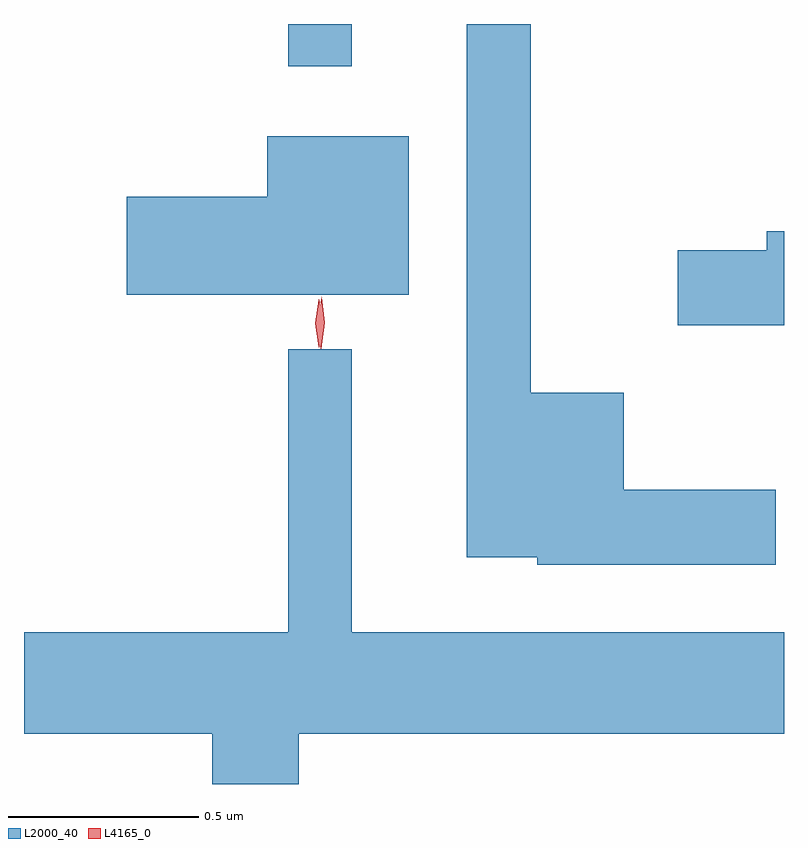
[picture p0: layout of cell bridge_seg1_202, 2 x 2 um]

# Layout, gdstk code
import gdstk
lib = gdstk.Library(unit=1e-6, precision=1e-09)
def R(c, l, rs):  # rectangles x0, y0, x1, y1
    for r in rs: c.add(gdstk.rectangle(r[:2], r[2:], *l))
def P(c, l, *ps):  # polygons
    for p in ps: c.add(gdstk.Polygon(p, *l))
L2000_40 = (2000, 40)
L4165_0 = (4165, 0)

bridge_seg1_202 = lib.new_cell('bridge_seg1_202')
R(bridge_seg1_202, L2000_40, [(688.951,974.593,689.119,974.704)])
P(bridge_seg1_202, L2000_40, [(690.234,973.479),(689.834,973.479),(689.834,973.734),(689.589,973.734),(689.589,974.704),(689.421,974.704),(689.421,973.301),(689.606,973.301),(689.606,973.281),(690.234,973.281)],
  [(689.269,974.409),(688.896,974.409),(688.896,974.249),(688.526,974.249),(688.526,973.991),(689.269,973.991)],
  [(690.256,974.159),(690.211,974.159),(690.211,974.109),(689.976,974.109),(689.976,973.911),(690.256,973.911)],
  [(688.979,972.836),(690.256,972.836),(690.256,973.104),(689.119,973.104),(689.119,973.848),(688.951,973.848),(688.951,973.104),(688.256,973.104),(688.256,972.836),(688.751,972.836),(688.751,972.704),(688.979,972.704)])
P(bridge_seg1_202, L4165_0, [(689.032,973.853),(689.032,973.854),(689.022,973.916),(689.032,973.979),(689.032,973.98),(689.033,973.979),(689.042,973.916),(689.033,973.854)],
  [(689.037,973.85),(689.028,973.918),(689.039,973.985),(689.039,973.986),(689.04,973.985),(689.048,973.918),(689.038,973.85),(689.038,973.85)])

lib.write_gds('bridge_seg1_202.gds')
